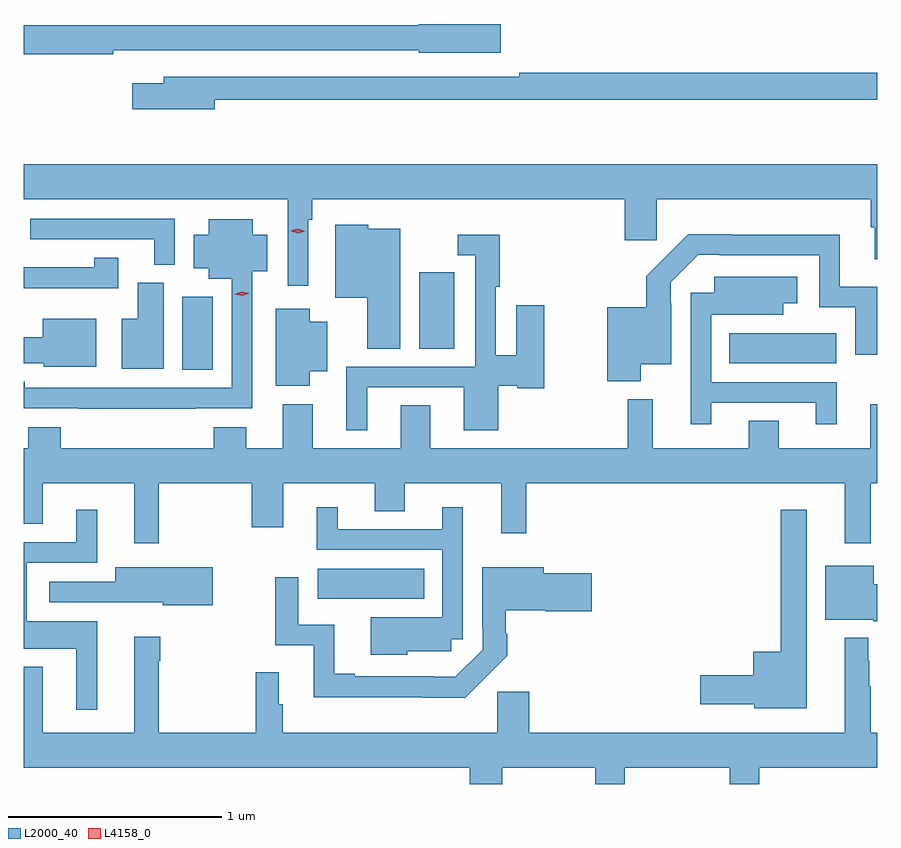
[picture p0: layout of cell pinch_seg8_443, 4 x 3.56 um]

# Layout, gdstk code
import gdstk
lib = gdstk.Library(unit=1e-6, precision=1e-09)
def R(c, l, rs):  # rectangles x0, y0, x1, y1
    for r in rs: c.add(gdstk.rectangle(r[:2], r[2:], *l))
def P(c, l, *ps):  # polygons
    for p in ps: c.add(gdstk.Polygon(p, *l))
L2000_40 = (2000, 40)
L4158_0 = (4158, 0)

pinch_seg8_443 = lib.new_cell('pinch_seg8_443')
R(pinch_seg8_443, L2000_40, [(335.592,1122.62,336.092,1122.76), (334.958,1123.693,335.101,1124.035), (337.522,1123.724,338.023,1123.864), (336.068,1123.792,336.232,1124.149)])
P(pinch_seg8_443, L2000_40, [(334.634,1125.192),(336.066,1125.192),(336.066,1125.179),(336.451,1125.179),(336.451,1125.314),(336.066,1125.314),(336.066,1125.308),(334.215,1125.308),(334.215,1125.172),(334.634,1125.172)],
  [(335.11,1124.958),(338.215,1124.958),(338.215,1125.086),(336.538,1125.086),(336.538,1125.066),(334.871,1125.066),(334.871,1125.037),(334.722,1125.037),(334.722,1124.915),(335.11,1124.915)],
  [(335.547,1124.396),(335.567,1124.396),(335.567,1124.492),(337.031,1124.492),(337.031,1124.301),(337.181,1124.301),(337.181,1124.492),(338.185,1124.492),(338.185,1124.36),(338.204,1124.36),(338.204,1124.211),(338.215,1124.211),(338.215,1124.656),(334.215,1124.656),(334.215,1124.492),(335.451,1124.492),(335.451,1124.088),(335.547,1124.088)],
  [(334.923,1124.4),(334.245,1124.4),(334.245,1124.304),(334.826,1124.304),(334.826,1124.185),(334.923,1124.185)],
  [(335.021,1123.512),(335.286,1123.512),(335.286,1124.156),(335.356,1124.156),(335.356,1124.326),(335.287,1124.326),(335.287,1124.398),(335.081,1124.398),(335.081,1124.326),(335.012,1124.326),(335.012,1124.168),(335.081,1124.168),(335.081,1124.12),(335.19,1124.12),(335.19,1123.608),(334.218,1123.608),(334.218,1123.636),(334.215,1123.636),(334.215,1123.512),(334.471,1123.512),(334.471,1123.511),(335.021,1123.511)],
  [(335.98,1124.353),(335.829,1124.353),(335.829,1124.374),(335.675,1124.374),(335.675,1124.03),(335.825,1124.03),(335.825,1123.792),(335.98,1123.792)],
  [(337.108,1123.718),(337.251,1123.718),(337.251,1124.003),(337.248,1124.003),(337.248,1124.103),(337.377,1124.232),(337.477,1124.232),(337.477,1124.229),(337.944,1124.229),(337.944,1123.986),(338.112,1123.986),(338.112,1123.764),(338.215,1123.764),(338.215,1124.082),(338.041,1124.082),(338.041,1124.326),(337.529,1124.326),(337.529,1124.329),(337.33,1124.329),(337.133,1124.131),(337.133,1123.987),(336.95,1123.987),(336.95,1123.639),(337.108,1123.639)],
  [(335.824,1123.611),(336.278,1123.611),(336.278,1123.41),(336.44,1123.41),(336.44,1123.618),(336.528,1123.618),(336.528,1123.607),(336.654,1123.607),(336.654,1123.996),(336.524,1123.996),(336.524,1123.76),(336.426,1123.76),(336.426,1124.083),(336.446,1124.083),(336.446,1124.326),(336.249,1124.326),(336.249,1124.229),(336.33,1124.229),(336.33,1123.707),(335.726,1123.707),(335.726,1123.41),(335.824,1123.41)],
  [(334.657,1124.219),(334.544,1124.219),(334.544,1124.173),(334.215,1124.173),(334.215,1124.075),(334.657,1124.075)],
  [(337.438,1123.539),(337.928,1123.539),(337.928,1123.437),(338.026,1123.437),(338.026,1123.635),(337.437,1123.635),(337.437,1123.952),(337.774,1123.952),(337.774,1124.006),(337.84,1124.006),(337.84,1124.128),(337.451,1124.128),(337.451,1124.055),(337.341,1124.055),(337.341,1123.437),(337.438,1123.437)],
  [(334.87,1124.1),(334.748,1124.1),(334.748,1123.933),(334.673,1123.933),(334.673,1123.697),(334.87,1123.697)],
  [(335.554,1123.685),(335.638,1123.685),(335.638,1123.918),(335.554,1123.918),(335.554,1123.978),(335.396,1123.978),(335.396,1123.617),(335.554,1123.617)],
  [(334.555,1123.933),(334.304,1123.933),(334.304,1123.846),(334.215,1123.846),(334.215,1123.724),(334.308,1123.724),(334.308,1123.706),(334.555,1123.706)],
  [(334.847,1123.16),(335.284,1123.16),(335.284,1122.954),(335.431,1122.954),(335.431,1123.16),(335.861,1123.16),(335.861,1123.03),(336.001,1123.03),(336.001,1123.16),(336.452,1123.16),(336.452,1122.927),(336.569,1122.927),(336.569,1123.16),(338.063,1123.16),(338.063,1122.879),(338.185,1122.879),(338.185,1123.16),(338.215,1123.16),(338.215,1123.531),(338.183,1123.531),(338.183,1123.324),(337.753,1123.324),(337.753,1123.454),(337.613,1123.454),(337.613,1123.324),(337.163,1123.324),(337.163,1123.554),(337.045,1123.554),(337.045,1123.324),(336.121,1123.324),(336.121,1123.526),(335.981,1123.526),(335.981,1123.324),(335.569,1123.324),(335.569,1123.531),(335.429,1123.531),(335.429,1123.324),(335.257,1123.324),(335.257,1123.423),(335.105,1123.423),(335.105,1123.324),(334.388,1123.324),(334.388,1123.423),(334.235,1123.423),(334.235,1123.324),(334.215,1123.324),(334.215,1122.97),(334.303,1122.97),(334.303,1123.16),(334.733,1123.16),(334.733,1122.879),(334.847,1122.879)],
  [(336.012,1122.374),(336.219,1122.374),(336.219,1122.429),(336.273,1122.429),(336.273,1123.048),(336.176,1123.048),(336.176,1122.945),(335.686,1122.945),(335.686,1123.048),(335.588,1123.048),(335.588,1122.849),(336.177,1122.849),(336.177,1122.532),(335.84,1122.532),(335.84,1122.356),(336.012,1122.356)],
  [(337.885,1123.036),(337.764,1123.036),(337.764,1122.37),(337.634,1122.37),(337.634,1122.26),(337.386,1122.26),(337.386,1122.125),(337.638,1122.125),(337.638,1122.107),(337.885,1122.107)],
  [(334.558,1122.514),(334.228,1122.514),(334.228,1122.789),(334.558,1122.789),(334.558,1123.036),(334.46,1123.036),(334.46,1122.885),(334.215,1122.885),(334.215,1122.386),(334.46,1122.386),(334.46,1122.099),(334.558,1122.099)],
  [(338.215,1122.687),(338.2,1122.687),(338.2,1122.775),(337.973,1122.775),(337.973,1122.521),(338.196,1122.521),(338.196,1122.514),(338.215,1122.514)],
  [(335.101,1122.768),(334.643,1122.768),(334.643,1122.699),(334.335,1122.699),(334.335,1122.603),(334.647,1122.603),(334.647,1122.602),(334.866,1122.602),(334.866,1122.59),(335.101,1122.59)],
  [(336.482,1122.353),(336.482,1122.455),(336.475,1122.455),(336.475,1122.565),(336.66,1122.565),(336.66,1122.56),(336.877,1122.56),(336.877,1122.738),(336.652,1122.738),(336.652,1122.766),(336.363,1122.766),(336.363,1122.481),(336.366,1122.481),(336.366,1122.381),(336.238,1122.253),(336.137,1122.253),(336.137,1122.255),(335.767,1122.255),(335.767,1122.268),(335.671,1122.268),(335.671,1122.498),(335.502,1122.498),(335.502,1122.721),(335.394,1122.721),(335.394,1122.402),(335.573,1122.402),(335.573,1122.158),(336.085,1122.158),(336.085,1122.156),(336.284,1122.156)],
  [(338.173,1122.329),(338.173,1122.436),(338.063,1122.436),(338.063,1121.992),(336.584,1121.992),(336.584,1122.183),(336.433,1122.183),(336.433,1121.992),(335.429,1121.992),(335.429,1122.125),(335.41,1122.125),(335.41,1122.274),(335.301,1122.274),(335.301,1121.992),(334.847,1121.992),(334.847,1122.329),(334.855,1122.329),(334.855,1122.442),(334.733,1122.442),(334.733,1121.992),(334.303,1121.992),(334.303,1122.301),(334.215,1122.301),(334.215,1121.828),(336.305,1121.828),(336.305,1121.751),(336.457,1121.751),(336.457,1121.828),(336.893,1121.828),(336.893,1121.751),(337.033,1121.751),(337.033,1121.828),(337.523,1121.828),(337.523,1121.751),(337.663,1121.751),(337.663,1121.828),(338.215,1121.828),(338.215,1121.992),(338.185,1121.992),(338.185,1122.209),(338.177,1122.209),(338.177,1122.329)])
P(pinch_seg8_443, L4158_0, [(335.499,1124.333),(335.464,1124.345),(335.464,1124.345),(335.464,1124.345),(335.5,1124.353),(335.534,1124.342),(335.535,1124.342),(335.534,1124.342)],
  [(335.238,1124.039),(335.202,1124.047),(335.202,1124.047),(335.202,1124.047),(335.236,1124.059),(335.272,1124.052),(335.272,1124.052),(335.272,1124.051)])

lib.write_gds('pinch_seg8_443.gds')
